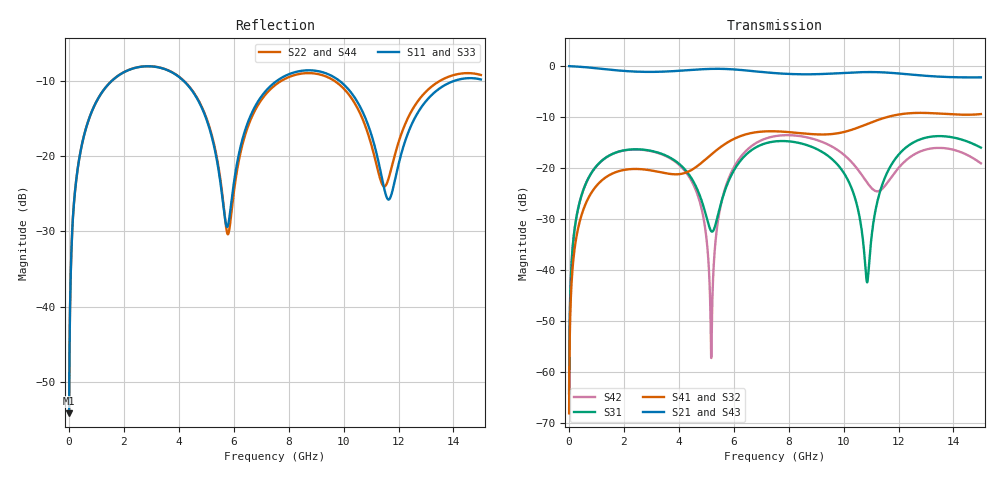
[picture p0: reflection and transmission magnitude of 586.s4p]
! Created with skrf 1.8.0 (http://scikit-rf.org).
# GHz S RI R 50.0
!freq ReS11 ImS11 ReS12 ImS12 ReS13 ImS13
! ReS14 ImS14
! ReS21 ImS21 ReS22 ImS22 ReS23 ImS23
! ReS24 ImS24
! ReS31 ImS31 ReS32 ImS32 ReS33 ImS33
! ReS34 ImS34
! ReS41 ImS41 ReS42 ImS42 ReS43 ImS43
! ReS44 ImS44
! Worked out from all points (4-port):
!   2499 points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, 5 MHz to 15 GHz, reference 50 ohm
!   strongest paths, dB at 5 MHz, 3.476 GHz, 7.19 GHz, 11.1 GHz, 15 GHz:
!     S21: 0.0, -1.1, -1.2, -1.2, -2.2
!     S43: 0.0, -1.1, -1.2, -1.2, -2.2
!     S41: -68.2, -21.0, -12.8, -10.9, -9.4
!     S32: -68.2, -21.1, -12.9, -10.9, -9.5
!     S31: -64.2, -17.4, -15.1, -30.3, -16.0
!     S42: -64.2, -17.5, -14.2, -24.3, -19.1
!   lowest |S11| = -54.2 dB at 5 MHz (marker M1), VSWR 1.00, Z = 50.2 + j0.119 ohm
!   |S11| at or under -10 dB: start of sweep to 1.562 GHz; 4.172 GHz to 7.573 GHz (3.401 GHz wide, 57.9 % of centre); 9.848 GHz to 14.04 GHz (4.189 GHz wide, 35.1 % of centre)
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0.005  0.00156 0.00119  0.9984 -0.00303  7.77e-05 0.000609  -7.55e-05 -0.000383
       0.9984 -0.00303  0.00156 0.00119  -7.55e-05 -0.000383  7.77e-05 0.000609
       7.77e-05 0.000609  -7.55e-05 -0.000383  0.00156 0.00119  0.9984 -0.00303
       -7.55e-05 -0.000383  7.77e-05 0.000609  0.9984 -0.00303  0.00156 0.00119
1.569404  0.2583 0.184  0.5755 -0.7146  0.1216 0.0628  -0.0872 -0.0105
          0.5755 -0.7146  0.2586 0.1839  -0.0871 -0.0106  0.1207 0.064
          0.1216 0.0628  -0.0871 -0.0106  0.2584 0.1839  0.5754 -0.7146
          -0.0872 -0.0105  0.1207 0.064  0.5754 -0.7146  0.2585 0.1839
5.177157  0.0712 -0.1198  -0.863 -0.3702  -0.0219 -0.00988  -0.0479 0.1265
          -0.863 -0.3702  0.0695 -0.1245  -0.0505 0.1254  0.00136 -0.000169
          -0.0219 -0.00988  -0.0505 0.1254  0.0708 -0.1196  -0.8631 -0.37
          -0.0479 0.1265  0.00136 -0.000169  -0.8631 -0.37  0.0695 -0.124
6.102543  0.0531 0.0675  -0.9155 0.1225  0.019 0.1027  0.041 0.194
          -0.9155 0.1225  0.047 0.0609  0.0373 0.1945  0.0552 0.098
          0.019 0.1027  0.0373 0.1945  0.0535 0.0685  -0.9154 0.1228
          0.041 0.194  0.0552 0.098  -0.9154 0.1228  0.0467 0.0612
9.016257  0.3632 -0.0586  0.0346 0.8325  0.1435 -0.0549  0.1989 -0.078
          0.0346 0.8325  0.3493 -0.0429  0.1989 -0.0703  0.1434 -0.1223
          0.1435 -0.0549  0.1989 -0.0703  0.3662 -0.062  0.0345 0.8317
          0.1989 -0.078  0.1434 -0.1223  0.0345 0.8317  0.3501 -0.0392
10.85452  0.103 -0.1325  0.7438 0.4586  0.00751 0.000687  0.129 -0.2368
          0.7438 0.4586  0.1039 -0.1039  0.1396 -0.2304  -0.0556 -0.046
          0.00751 0.000687  0.1396 -0.2304  0.1015 -0.1378  0.7425 0.4594
          0.129 -0.2368  -0.0556 -0.046  0.7425 0.4594  0.1104 -0.104
15  0.3216 -0.0268  -0.0522 -0.7737  0.0491 -0.1506  -0.3323 0.0629
    -0.0522 -0.7737  0.3421 -0.0496  -0.3341 0.0429  0.043 -0.1025
    0.0491 -0.1506  -0.3341 0.0429  0.3188 -0.0299  -0.0522 -0.7751
    -0.3323 0.0629  0.043 -0.1025  -0.0522 -0.7751  0.3374 -0.0472
